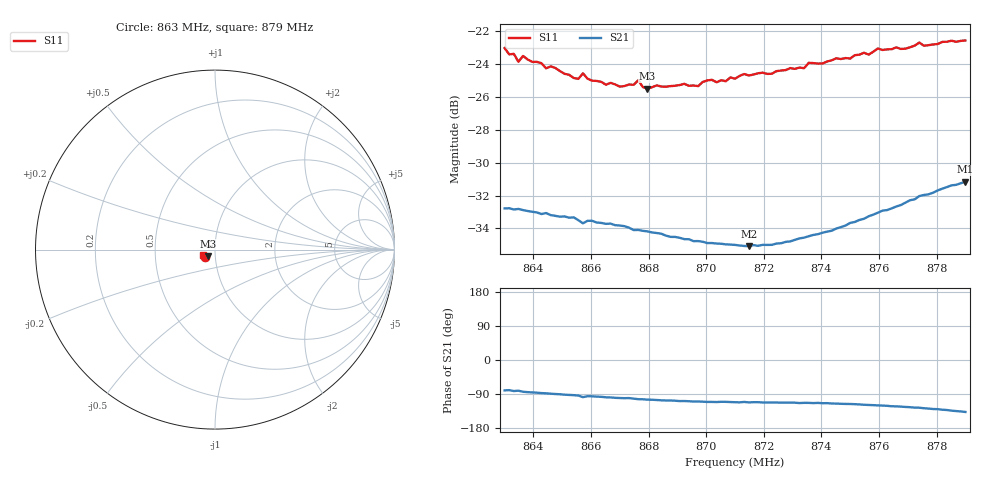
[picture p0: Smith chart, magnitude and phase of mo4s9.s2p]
# HZ S RI R 50
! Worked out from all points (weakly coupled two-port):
!   101 points, 863 MHz to 879 MHz, reference 50 ohm
!   highest |S21| = -31.16 dB at 879 MHz (marker M1); lowest = -35.1 dB at 871.48 MHz (marker M2)
!   lowest |S11| = -25.5 dB at 867.96 MHz (marker M3), VSWR 1.11, Z = 46.1 - j3.24 ohm
!   |S11| at or under -10 dB: start of sweep to end of sweep
!   S12 and S22 are empty: the file has one direction only
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8.63e8  -0.0581 -0.04  0.00392 -0.0226  0 0  0 0
8.6316e8  -0.0544 -0.04  0.00418 -0.0226  0 0  0 0
8.6332e8  -0.0558 -0.0385  0.0032 -0.0226  0 0  0 0
8.6348e8  -0.0514 -0.0382  0.00358 -0.0226  0 0  0 0
8.6364e8  -0.0553 -0.0374  0.00244 -0.0226  0 0  0 0
8.654e8  -0.0459 -0.0341  -0.00105 -0.0215  0 0  0 0
8.6572e8  -0.0474 -0.0353  -0.00289 -0.0205  0 0  0 0
8.6604e8  -0.0445 -0.0342  -0.00212 -0.0209  0 0  0 0
8.67e8  -0.0421 -0.0336  -0.00366 -0.02  0 0  0 0
8.6764e8  -0.0428 -0.0367  -0.00458 -0.0192  0 0  0 0
8.6796e8  -0.0398 -0.0351  -0.00493 -0.0189  0 0  0 0
8.6844e8  -0.0404 -0.0357  -0.00541 -0.0185  0 0  0 0
8.6972e8  -0.0385 -0.0379  -0.00606 -0.0172  0 0  0 0
8.7004e8  -0.0403 -0.0393  -0.00635 -0.0169  0 0  0 0
8.71e8  -0.041 -0.0395  -0.00648 -0.0166  0 0  0 0
8.7148e8  -0.0413 -0.0411  -0.0066 -0.0163  0 0  0 0
8.734e8  -0.0443 -0.0424  -0.00733 -0.0172  0 0  0 0
8.7372e8  -0.0468 -0.043  -0.00767 -0.0175  0 0  0 0
8.7644e8  -0.0582 -0.0388  -0.0122 -0.0195  0 0  0 0
8.774e8  -0.0631 -0.0373  -0.0147 -0.0203  0 0  0 0
8.7756e8  -0.0625 -0.0352  -0.0153 -0.0201  0 0  0 0
8.79e8  -0.0684 -0.0292  -0.0203 -0.0188  0 0  0 0
